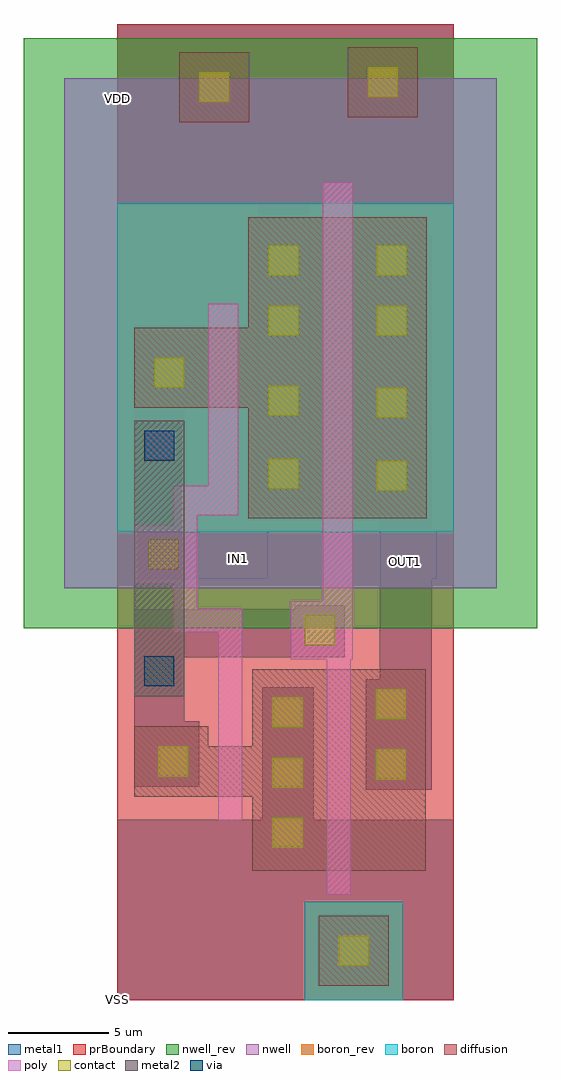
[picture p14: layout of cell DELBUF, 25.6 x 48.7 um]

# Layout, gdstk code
import gdstk
lib = gdstk.Library(unit=1e-6, precision=1e-09)
def R(c, l, rs):  # rectangles x0, y0, x1, y1
    for r in rs: c.add(gdstk.rectangle(r[:2], r[2:], *l))
def A(c, l, x, y, w, h, nx, ny, dx, dy):  # array of equal rectangles
    R(c, l, [(x+i*dx, y+j*dy, x+i*dx+w, y+j*dy+h) for i in range(nx) for j in range(ny)])
def P(c, l, *ps):  # polygons
    for p in ps: c.add(gdstk.Polygon(p, *l))
nwell = (1, 0)
diffusion = (2, 0)
nwell_rev = (3, 0)
poly = (4, 0)
boron = (5, 0)
boron_rev = (6, 0)
contact = (7, 0)
metal1 = (8, 0)
via = (9, 0)
metal2 = (10, 0)
prBoundary = (28, 0)

delbuf = lib.new_cell('DELBUF')
R(delbuf, nwell, [(-2.65,20.55,18.95,46)])
R(delbuf, diffusion, [(10.05,0.7,13.55,4.2), (3.1,43.8,6.6,47.3), (11.5,44.05,15,47.55)])
P(delbuf, diffusion, [(6.55,24.05),(6.55,29.55),(0.85,29.55),(0.85,33.55),(6.55,33.55),(6.55,39.05),(15.45,39.05),(15.45,24.05)],
  [(6.75,6.45),(6.75,10.15),(0.85,10.15),(0.85,13.65),(4.55,13.65),(4.55,12.65),(6.75,12.65),(6.75,16.5),(15.4,16.5),(15.4,6.45)])
R(delbuf, nwell_rev, [(-4.65,18.55,20.95,48)])
P(delbuf, poly, [(5.05,8.95),(5.05,18.35),(2.8,18.35),(2.8,20.8),(0.85,20.8),(0.85,23.7),(2.8,23.7),(2.8,25.65),(4.55,25.65),(4.55,34.75),(6.05,34.75),(6.05,24.2),(4,24.2),(4,19.55),(6.25,19.55),(6.25,8.95)],
  [(10.45,5.25),(10.45,17),(8.65,17),(8.65,19.9),(10.25,19.9),(10.25,40.8),(11.75,40.8),(11.75,17),(11.65,17),(11.65,5.25)])
R(delbuf, boron, [(9.35,0,14.25,4.9), (0,23.35,16.8,39.75)])
R(delbuf, boron_rev, [(9.35,0,14.25,4.9), (0,23.35,16.8,39.75)])
A(delbuf, contact, 7.75, 7.6, 1.5, 1.5, 1, 3, 0, 3)
R(delbuf, contact, [(11.05,1.7,12.55,3.2), (12.9,11,14.4,12.5), (2.05,11.15,3.55,12.65), (12.9,14,14.4,15.5), (9.35,17.7,10.85,19.2), (1.55,21.5,3.05,23), (12.95,25.4,14.45,26.9), (7.55,25.5,9.05,27), (12.95,29.05,14.45,30.55), (7.55,29.15,9.05,30.65), (1.85,30.55,3.35,32.05), (7.55,33.15,9.05,34.65), (12.95,33.15,14.45,34.65), (7.55,36.15,9.05,37.65), (12.95,36.15,14.45,37.65), (4.1,44.8,5.6,46.3), (12.5,45.05,14,46.55)])
R(delbuf, metal1, [(0,0,16.8,9), (1.05,21,7.55,23.5), (0,39.7,16.8,48.7)])
P(delbuf, metal1, [(0,0),(0,9),(7.25,9),(7.25,15.6),(9.8,15.6),(9.8,9),(16.8,9),(16.8,0)],
  [(0.85,26.4),(0.85,32.55),(3.9,32.55),(3.9,30.05),(3.35,30.05),(3.35,26.4)],
  [(0.85,10.65),(0.85,19.5),(8.85,19.5),(8.85,19.7),(11.35,19.7),(11.35,17.1),(3.35,17.1),(3.35,13.9),(4.1,13.9),(4.1,10.65)],
  [(12.4,10.5),(12.4,16),(13.1,16),(13.1,24.9),(12.45,24.9),(12.45,38.15),(15.7,38.15),(15.7,23.5),(15.95,23.5),(15.95,21),(15.7,21),(15.7,10.5)],
  [(7.05,25),(7.05,39.7),(0,39.7),(0,48.7),(16.8,48.7),(16.8,39.7),(9.6,39.7),(9.6,25)])
R(delbuf, via, [(1.35,15.65,2.85,17.15), (1.35,26.9,2.85,28.4)])
R(delbuf, metal2, [(0.85,15.15,3.35,28.9)])
R(delbuf, prBoundary, [(0,0,16.8,48.7)])
delbuf.add(gdstk.Label('VSS', (0.001,0.001), layer=8, texttype=7))
delbuf.add(gdstk.Label('VDD', (0.002,45), layer=8, texttype=7))
delbuf.add(gdstk.Label('IN1', (6.05,22.05), layer=8, texttype=7))
delbuf.add(gdstk.Label('OUT1', (14.4,21.9), layer=8, texttype=7))

lib.write_gds('DELBUF.gds')
